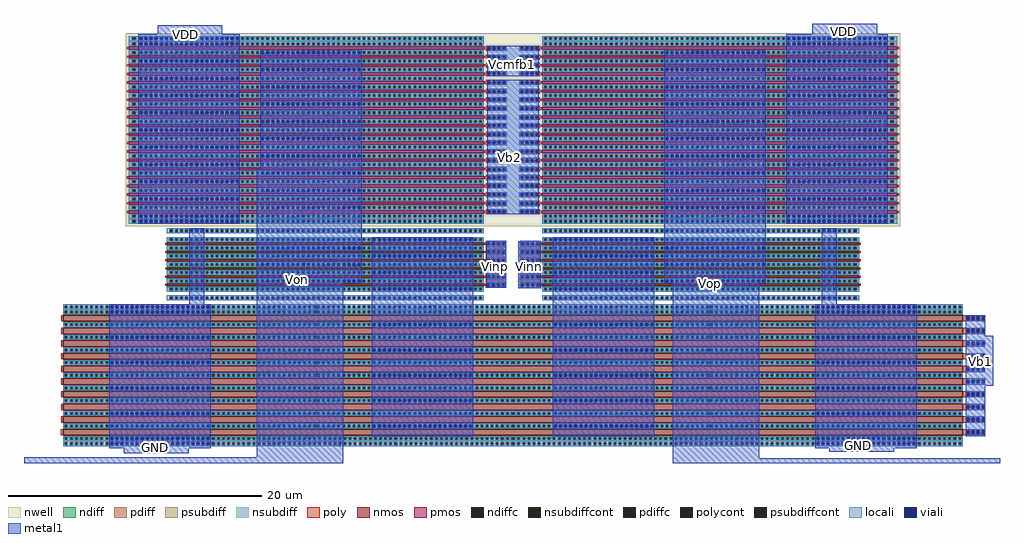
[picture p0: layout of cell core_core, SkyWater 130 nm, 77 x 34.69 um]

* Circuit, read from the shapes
.subckt core_core Von Vb2 Vcmfb1 VDD GND Vb1 Vop Vinp Vinn
XM1 core_0/core_half_0/s Vb1 GND GND sky130_fd_pr__nfet_01v8 w=71 l=0.5 m=10
XM2 Von Vinp core_0/core_half_0/s GND sky130_fd_pr__nfet_01v8 w=25 l=0.15 m=6
XM3 Vop Vinn core_0/core_half_0/s GND sky130_fd_pr__nfet_01v8 w=25 l=0.15 m=6
XM4 Von Vb2 VDD VDD sky130_fd_pr__pfet_01v8 w=28 l=0.18 m=16
XM5 Von Vcmfb1 VDD VDD sky130_fd_pr__pfet_01v8 w=28 l=0.18 m=4
XM6 Vop Vb2 VDD VDD sky130_fd_pr__pfet_01v8 w=28 l=0.18 m=16
XM7 Vop Vcmfb1 VDD VDD sky130_fd_pr__pfet_01v8 w=28 l=0.18 m=4
.ends

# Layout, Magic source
magic
tech sky130A
<< metal1 >>
rect 767 3192 1278 3335
rect 5932 3206 6443 3349
rect 3464 2935 3660 3149
rect 1550 1831 2200 2205
rect 3483 2008 3650 2547
rect 1550 1650 2366 1831
rect 1550 1483 2200 1650
rect 499 -40 1010 41
rect 1550 -73 2232 1483
rect 3359 1273 3483 1621
rect 3612 1263 3793 1631
rect 4777 1626 5560 1807
rect 4860 1497 5500 1626
rect -288 -120 2232 -73
rect 4829 -78 5511 1497
rect 7154 494 7359 886
rect 6066 -30 6577 88
rect 4829 -120 7412 -78
use core  core_0
transform 1 0 3505 0 1 1245
box -3505 -1245 3790 2030
<< labels >>
rlabel metal1 3545 2290 3545 2290 1 Vb2
port 5 n
rlabel metal1 3565 3030 3565 3030 1 Vcmfb1
port 6 n
rlabel metal1 985 3265 985 3265 1 VDD
port 7 n
rlabel metal1 6180 3285 6180 3285 1 VDD
port 7 n
rlabel metal1 750 5 750 5 1 GND
port 8 n
rlabel metal1 6295 20 6295 20 1 GND
port 8 n
rlabel metal1 7260 680 7260 680 1 Vb1
port 9 n
rlabel metal1 1870 1330 1870 1330 1 Von
port 3 n
rlabel metal1 5130 1300 5130 1300 1 Vop
port 10 n
rlabel metal1 3435 1435 3435 1435 1 Vinp
port 11 n
rlabel metal1 3700 1435 3700 1435 1 Vinn
port 12 n
<< end >>

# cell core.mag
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
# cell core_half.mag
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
